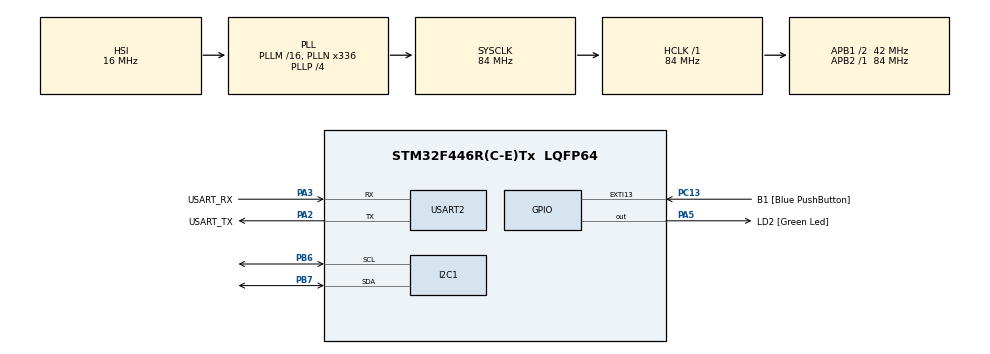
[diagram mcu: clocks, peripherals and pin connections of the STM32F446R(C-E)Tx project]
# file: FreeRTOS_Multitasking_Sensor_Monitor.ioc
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FREERTOS.Tasks01=defaultTask,24,128,StartDefaultTask,Default,NULL,Dynamic,NULL,NULL
FREERTOS.configUSE_NEWLIB_REENTRANT=1
Mcu.Family=STM32F4
Mcu.Name=STM32F446R(C-E)Tx
Mcu.Package=LQFP64
NVIC.PriorityGroup=NVIC_PRIORITYGROUP_4
NVIC.TIM6_DAC_IRQn=true\:15\:0\:false\:false\:true\:false\:false\:true\:true
NVIC.TimeBase=TIM6_DAC_IRQn
NVIC.TimeBaseIP=TIM6
PA13.GPIO_Label=TMS
PA13.Mode=Serial_Wire
PA13.Signal=SYS_JTMS-SWDIO
PA14.GPIO_Label=TCK
PA14.Mode=Serial_Wire
PA14.Signal=SYS_JTCK-SWCLK
PA2.GPIO_Label=USART_TX
PA2.Mode=Asynchronous
PA2.Signal=USART2_TX
PA3.GPIO_Label=USART_RX
PA3.Mode=Asynchronous
PA3.Signal=USART2_RX
PA5.GPIO_Label=LD2 [Green Led]
PA5.Signal=GPIO_Output
PB3.GPIO_Label=SWO
PB3.Signal=SYS_JTDO-SWO
PB6.Mode=I2C
PB6.Signal=I2C1_SCL
PB7.Mode=I2C
PB7.Signal=I2C1_SDA
PC13.GPIO_Label=B1 [Blue PushButton]
PC13.GPIO_ModeDefaultEXTI=GPIO_MODE_IT_FALLING
PC13.Signal=GPXTI13
PC14-OSC32_IN.Mode=LSE-External-Oscillator
PC14-OSC32_IN.Signal=RCC_OSC32_IN
PC15-OSC32_OUT.Mode=LSE-External-Oscillator
PC15-OSC32_OUT.Signal=RCC_OSC32_OUT
PH0-OSC_IN.Mode=HSE-External-Oscillator
PH0-OSC_IN.Signal=RCC_OSC_IN
PH1-OSC_OUT.Mode=HSE-External-Oscillator
PH1-OSC_OUT.Signal=RCC_OSC_OUT
ProjectManager.HeapSize=0x200
ProjectManager.StackSize=0x400
ProjectManager.TargetToolchain=STM32CubeIDE
RCC.48MHZClocksFreq_Value=84000000
RCC.AHBFreq_Value=84000000
RCC.APB1CLKDivider=RCC_HCLK_DIV2
RCC.APB1Freq_Value=42000000
RCC.APB1TimFreq_Value=84000000
RCC.APB2Freq_Value=84000000
RCC.APB2TimFreq_Value=84000000
RCC.CortexFreq_Value=84000000
RCC.FLatency-AdvancedSettings=FLASH_LATENCY_2
RCC.HCLKFreq_Value=84000000
RCC.HSE_VALUE=8000000
RCC.HSI_VALUE=16000000
RCC.PLLN=336
RCC.PLLP=RCC_PLLP_DIV4
RCC.SYSCLKFreq_VALUE=84000000
RCC.SYSCLKSource=RCC_SYSCLKSOURCE_PLLCLK
RCC.USBFreq_Value=168000000
RCC.VCOOutputFreq_Value=336000000
USART2.VirtualMode=VM_ASYNC
VP_FREERTOS_VS_CMSIS_V2.Mode=CMSIS_V2
VP_SYS_VS_tim6.Mode=TIM6
board=NUCLEO-F446RE

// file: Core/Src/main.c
/* USER CODE BEGIN Header */
/**
  ******************************************************************************
  * @file           : main.c
  * @brief          : Main program body
  ******************************************************************************
  * @attention
  *
  * Copyright (c) 2025 STMicroelectronics.
  * All rights reserved.
  *
  * This software is licensed under terms that can be found in the LICENSE file
  * in the root directory of this software component.
  * If no LICENSE file comes with this software, it is provided AS-IS.
  *
  ******************************************************************************
  */
/* USER CODE END Header */
#include "main.h"
#include "cmsis_os.h"

/* USER CODE BEGIN Includes */
#include <stdio.h>
#include "bme280.h"
/* USER CODE END Includes */

/* USER CODE BEGIN PD */
#define BLINK_DELAY_MS 500
#define SENSOR_READ_DELAY_MS 2000
/* USER CODE END PD */

I2C_HandleTypeDef hi2c1;

UART_HandleTypeDef huart2;

/* Definitions for defaultTask */
osThreadId_t defaultTaskHandle;
const osThreadAttr_t defaultTask_attributes = {
  .name = "defaultTask",
  .stack_size = 128 * 4,
  .priority = (osPriority_t) osPriorityNormal,
};
/* USER CODE BEGIN PV */

osThreadId_t ledAlarmTaskHandle;
const osThreadAttr_t ledTask_attributes = {
  .name = "ledAlarmTask",
  .stack_size = 128 * 4,
  .priority = (osPriority_t) osPriorityLow,
};

osThreadId_t i2cSensorTaskHandle;
const osThreadAttr_t i2cTask_attributes = {
  .name = "i2cSensorTask",
  .stack_size = 256 * 4,
  .priority = (osPriority_t) osPriorityNormal,
};

osThreadId_t gpsTaskHandle;

/* USER CODE END PV */

void SystemClock_Config(void);
static void MX_GPIO_Init(void);
static void MX_USART2_UART_Init(void);
static void MX_I2C1_Init(void);
void StartDefaultTask(void *argument);

/* USER CODE BEGIN PFP */

void LedAlarmTask(void *argument);
void I2CSensorTask(void *argument);
void GpsTask(void *argument);

/* USER CODE END PFP */

/* USER CODE BEGIN 0 */
#ifdef __GNUC__
#define PUTCHAR_PROTOTYPE int __io_putchar(int ch)
#else
#define PUTCHAR_PROTOTYPE int fputc(int ch, FILE *f)
#endif
PUTCHAR_PROTOTYPE
{
  HAL_UART_Transmit(&huart2, (uint8_t *)&ch, 1, HAL_MAX_DELAY);
  return ch;
}

/* USER CODE END 0 */

int main(void)
{

  /* MCU Configuration--------------------------------------------------------*/

  /* Reset of all peripherals, Initializes the Flash interface and the Systick. */
  HAL_Init();

  /* Configure the system clock */
  SystemClock_Config();

  /* Initialize all configured peripherals */
  MX_GPIO_Init();
  MX_USART2_UART_Init();
  MX_I2C1_Init();
  /* USER CODE BEGIN 2 */

  printf("System Initialized...\r\n");

  /* USER CODE END 2 */

  /* Init scheduler */
  osKernelInitialize();

  /* Create the thread(s) */
  /* creation of defaultTask */
  defaultTaskHandle = osThreadNew(StartDefaultTask, NULL, &defaultTask_attributes);

  ledAlarmTaskHandle = osThreadNew(LedAlarmTask, NULL, &ledTask_attributes);

  i2cSensorTaskHandle = osThreadNew(I2CSensorTask, NULL, &i2cTask_attributes);

  /* Start scheduler */
  osKernelStart();

  /* We should never get here as control is now taken by the scheduler */

  /* Infinite loop */
  while (1)
  {

  }
}

void SystemClock_Config(void)
{
  RCC_OscInitTypeDef RCC_OscInitStruct = {0};
  RCC_ClkInitTypeDef RCC_ClkInitStruct = {0};

  /** Configure the main internal regulator output voltage
  */
  __HAL_RCC_PWR_CLK_ENABLE();
  __HAL_PWR_VOLTAGESCALING_CONFIG(PWR_REGULATOR_VOLTAGE_SCALE3);

  /** Initializes the RCC Oscillators according to the specified parameters
  * in the RCC_OscInitTypeDef structure.
  */
  RCC_OscInitStruct.OscillatorType = RCC_OSCILLATORTYPE_HSI;
  RCC_OscInitStruct.HSIState = RCC_HSI_ON;
  RCC_OscInitStruct.HSICalibrationValue = RCC_HSICALIBRATION_DEFAULT;
  RCC_OscInitStruct.PLL.PLLState = RCC_PLL_ON;
  RCC_OscInitStruct.PLL.PLLSource = RCC_PLLSOURCE_HSI;
  RCC_OscInitStruct.PLL.PLLM = 16;
  RCC_OscInitStruct.PLL.PLLN = 336;
  RCC_OscInitStruct.PLL.PLLP = RCC_PLLP_DIV4;
  RCC_OscInitStruct.PLL.PLLQ = 2;
  RCC_OscInitStruct.PLL.PLLR = 2;
  if (HAL_RCC_OscConfig(&RCC_OscInitStruct) != HAL_OK)
  {
    Error_Handler();
  }

  /** Initializes the CPU, AHB and APB buses clocks
  */
  RCC_ClkInitStruct.ClockType = RCC_CLOCKTYPE_HCLK|RCC_CLOCKTYPE_SYSCLK
                              |RCC_CLOCKTYPE_PCLK1|RCC_CLOCKTYPE_PCLK2;
  RCC_ClkInitStruct.SYSCLKSource = RCC_SYSCLKSOURCE_PLLCLK;
  RCC_ClkInitStruct.AHBCLKDivider = RCC_SYSCLK_DIV1;
  RCC_ClkInitStruct.APB1CLKDivider = RCC_HCLK_DIV2;
  RCC_ClkInitStruct.APB2CLKDivider = RCC_HCLK_DIV1;

  if (HAL_RCC_ClockConfig(&RCC_ClkInitStruct, FLASH_LATENCY_2) != HAL_OK)
  {
    Error_Handler();
  }
}

static void MX_I2C1_Init(void)
{

  hi2c1.Instance = I2C1;
  hi2c1.Init.ClockSpeed = 100000;
  hi2c1.Init.DutyCycle = I2C_DUTYCYCLE_2;
  hi2c1.Init.OwnAddress1 = 0;
  hi2c1.Init.AddressingMode = I2C_ADDRESSINGMODE_7BIT;
  hi2c1.Init.DualAddressMode = I2C_DUALADDRESS_DISABLE;
  hi2c1.Init.OwnAddress2 = 0;
  hi2c1.Init.GeneralCallMode = I2C_GENERALCALL_DISABLE;
  hi2c1.Init.NoStretchMode = I2C_NOSTRETCH_DISABLE;
  if (HAL_I2C_Init(&hi2c1) != HAL_OK)
  {
    Error_Handler();
  }

}

static void MX_USART2_UART_Init(void)
{

  huart2.Instance = USART2;
  huart2.Init.BaudRate = 115200;
  huart2.Init.WordLength = UART_WORDLENGTH_8B;
  huart2.Init.StopBits = UART_STOPBITS_1;
  huart2.Init.Parity = UART_PARITY_NONE;
  huart2.Init.Mode = UART_MODE_TX_RX;
  huart2.Init.HwFlowCtl = UART_HWCONTROL_NONE;
  huart2.Init.OverSampling = UART_OVERSAMPLING_16;
  if (HAL_UART_Init(&huart2) != HAL_OK)
  {
    Error_Handler();
  }

}

static void MX_GPIO_Init(void)
{
  GPIO_InitTypeDef GPIO_InitStruct = {0};

  /* GPIO Ports Clock Enable */
  __HAL_RCC_GPIOC_CLK_ENABLE();
  __HAL_RCC_GPIOH_CLK_ENABLE();
  __HAL_RCC_GPIOA_CLK_ENABLE();
  __HAL_RCC_GPIOB_CLK_ENABLE();

  /*Configure GPIO pin Output Level */
  HAL_GPIO_WritePin(LD2_GPIO_Port, LD2_Pin, GPIO_PIN_RESET);

  /*Configure GPIO pin : B1_Pin */
  GPIO_InitStruct.Pin = B1_Pin;
  GPIO_InitStruct.Mode = GPIO_MODE_IT_FALLING;
  GPIO_InitStruct.Pull = GPIO_NOPULL;
  HAL_GPIO_Init(B1_GPIO_Port, &GPIO_InitStruct);

  /*Configure GPIO pin : LD2_Pin */
  GPIO_InitStruct.Pin = LD2_Pin;
  GPIO_InitStruct.Mode = GPIO_MODE_OUTPUT_PP;
  GPIO_InitStruct.Pull = GPIO_NOPULL;
  GPIO_InitStruct.Speed = GPIO_SPEED_FREQ_LOW;
  HAL_GPIO_Init(LD2_GPIO_Port, &GPIO_InitStruct);

}

/* USER CODE BEGIN 4 */

void LedAlarmTask(void *argument) {
	for(;;){

		HAL_GPIO_TogglePin(GPIOA, GPIO_PIN_5);
		osDelay(BLINK_DELAY_MS);
	}
}

void I2CSensorTask(void *argument) {

    	BME280_Data_t sensor_data;

        osDelay(1000);

        if(BME280_Init(&hi2c1) != HAL_OK){
        	printf("BME280 initialization failed!\r\n");
        	osThreadTerminate(NULL);
        }
        else{
        	 printf("BME280 initialized successfully.\r\n");
        }

        for(;;){

        	if(BME280_ReadData(&hi2c1, &sensor_data) == HAL_OK){

        		printf("Temp: %.2f C, Pres: %.2f hPa, Hum: %.2f %%\r\n",
        		                   sensor_data.temperature,
        		                   sensor_data.pressure,
        		                   sensor_data.humidity);
        	}
        	else{
        		printf("failed to read sensor data.\r\n");
        	}

        	osDelay(SENSOR_READ_DELAY_MS);

        }

}

void GpsTask(void *argument) {
    for(;;) {
        osDelay(1000);
    }
}

/* USER CODE END 4 */

void StartDefaultTask(void *argument)
{
  for(;;)
  {
    osDelay(1);
  }
}

void HAL_TIM_PeriodElapsedCallback(TIM_HandleTypeDef *htim)
{
  if (htim->Instance == TIM6)
  {
    HAL_IncTick();
  }
}

void Error_Handler(void)
{
  __disable_irq();
  while (1)
  {
  }
}
